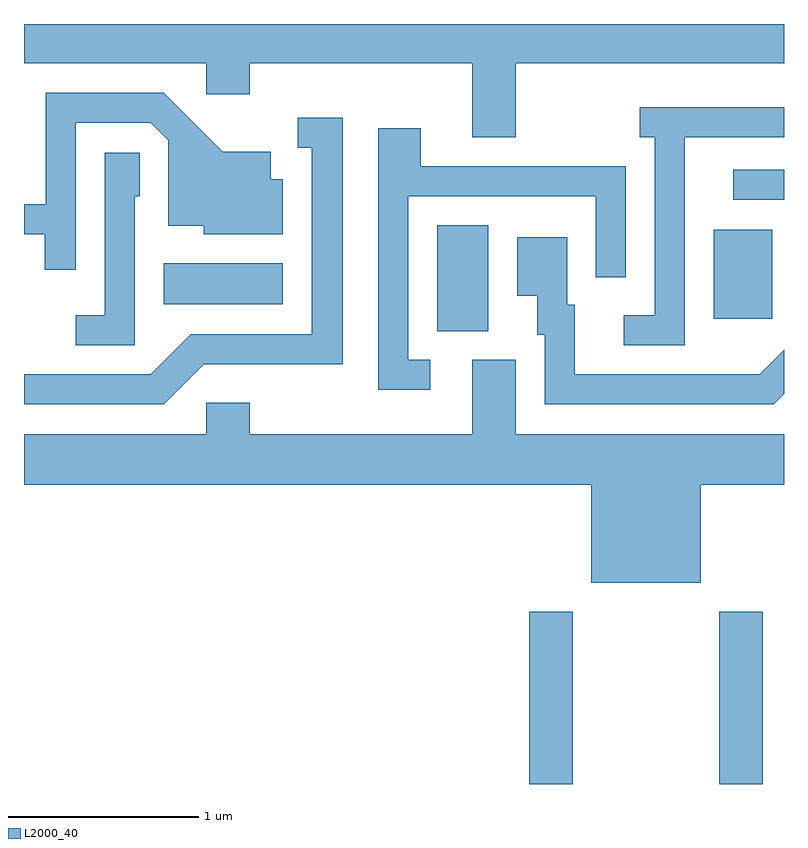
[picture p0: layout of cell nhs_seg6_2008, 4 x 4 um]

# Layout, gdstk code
import gdstk
lib = gdstk.Library(unit=1e-6, precision=1e-09)
def R(c, l, rs):  # rectangles x0, y0, x1, y1
    for r in rs: c.add(gdstk.rectangle(r[:2], r[2:], *l))
def P(c, l, *ps):  # polygons
    for p in ps: c.add(gdstk.Polygon(p, *l))
L2000_40 = (2000, 40)

nhs_seg6_2008 = lib.new_cell('nhs_seg6_2008')
R(nhs_seg6_2008, L2000_40, [(248.271,1626.162,248.499,1627.069), (249.271,1626.162,249.499,1627.069), (247.786,1628.546,248.054,1629.104), (249.241,1628.611,249.549,1629.079), (246.346,1628.686,246.974,1628.904), (249.343,1629.236,249.611,1629.394)])
P(nhs_seg6_2008, L2000_40, [(248.199,1629.956),(249.611,1629.956),(249.611,1630.162),(245.611,1630.162),(245.611,1629.956),(246.571,1629.956),(246.571,1629.791),(246.799,1629.791),(246.799,1629.956),(247.971,1629.956),(247.971,1629.566),(248.199,1629.566)],
  [(245.884,1629.641),(246.279,1629.641),(246.371,1629.549),(246.371,1629.101),(246.556,1629.101),(246.556,1629.056),(246.974,1629.056),(246.974,1629.344),(246.909,1629.344),(246.909,1629.489),(246.657,1629.489),(246.347,1629.799),(245.726,1629.799),(245.726,1629.214),(245.611,1629.214),(245.611,1629.056),(245.721,1629.056),(245.721,1628.868),(245.884,1628.868)],
  [(249.089,1629.566),(249.611,1629.566),(249.611,1629.724),(248.853,1629.724),(248.853,1629.566),(248.931,1629.566),(248.931,1628.629),(248.768,1628.629),(248.768,1628.471),(249.089,1628.471)],
  [(246.557,1628.371),(247.289,1628.371),(247.289,1629.669),(247.053,1629.669),(247.053,1629.511),(247.126,1629.511),(247.126,1628.529),(246.489,1628.529),(246.279,1628.319),(245.611,1628.319),(245.611,1628.161),(246.347,1628.161)],
  [(247.748,1628.394),(247.634,1628.394),(247.634,1629.256),(248.621,1629.256),(248.621,1628.828),(248.779,1628.828),(248.779,1629.414),(247.699,1629.414),(247.699,1629.614),(247.476,1629.614),(247.476,1628.236),(247.748,1628.236)],
  [(246.194,1629.256),(246.219,1629.256),(246.219,1629.484),(246.036,1629.484),(246.036,1628.629),(245.883,1628.629),(245.883,1628.471),(246.194,1628.471)],
  [(249.611,1628.215),(249.611,1628.447),(249.484,1628.319),(248.509,1628.319),(248.509,1628.684),(248.469,1628.684),(248.469,1629.039),(248.206,1629.039),(248.206,1628.731),(248.311,1628.731),(248.311,1628.526),(248.351,1628.526),(248.351,1628.161),(249.557,1628.161)],
  [(249.174,1627.736),(249.611,1627.736),(249.611,1628.004),(248.199,1628.004),(248.199,1628.394),(247.971,1628.394),(247.971,1628.004),(246.799,1628.004),(246.799,1628.169),(246.571,1628.169),(246.571,1628.004),(245.611,1628.004),(245.611,1627.736),(248.596,1627.736),(248.596,1627.221),(249.174,1627.221)])

lib.write_gds('nhs_seg6_2008.gds')
